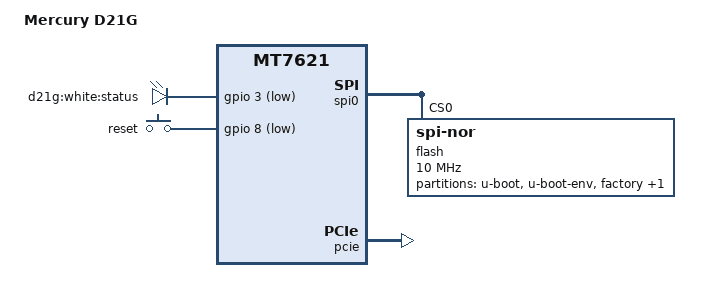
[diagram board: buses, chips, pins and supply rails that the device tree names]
#include "mt7621.dtsi"

#include <dt-bindings/gpio/gpio.h>
#include <dt-bindings/input/input.h>

/ {
     compatible = "mercury,d21g", "mediatek,mt7621-soc";
     model = "Mercury D21G";

     aliases {
         led-boot = &led_status;
         led-failsafe = &led_status;
         led-running = &led_status;
         led-upgrade = &led_status;
     };

     chosen {
         bootargs = "console=ttyS0,57600";
     };

     leds {
         compatible = "gpio-leds";

         led_status: status {
             label = "d21g:white:status";
             gpios = <&gpio 3 GPIO_ACTIVE_LOW>;
         };

     };

     keys {
         compatible = "gpio-keys";

         reset {
             label = "reset";
             gpios = <&gpio 8 GPIO_ACTIVE_LOW>;
             linux,code = <KEY_RESTART>;
         };
     };

};


&spi0 {
        status = "okay";

        flash@0 {
                compatible = "jedec,spi-nor";
                reg = <0>;
                spi-max-frequency = <10000000>;

                partitions {
                        compatible = "fixed-partitions";
                        #address-cells = <1>;
                        #size-cells = <1>;

                        partition@0 {
                                label = "u-boot";
                                reg = <0x0 0x20000>;
                                read-only;
                        };

                        partition@20000 {
                                label = "u-boot-env";
                                reg = <0x20000 0x10000>;
                                read-only;
                        };

                        factory: partition@30000 {
                                label = "factory";
                                reg = <0x30000 0x10000>;
								read-only;
                        };

                        partition@40000 {
                                compatible = "denx,uimage";
                                label = "firmware";
                                reg = <0x40000 0x7b0000>;
                        };
                };
        };
};

&gmac0 {
        mtd-mac-address = <&factory 0xe000>;
};

&switch0 {
        ports {
                port@0 {
                        status = "okay";
                        label = "wan";
						mtd-mac-address = <&factory 0xe000>;
                        mtd-mac-address-increment = <1>;
                };

                port@2 {
                        status = "okay";
                        label = "lan1";
                };

                port@3 {
                        status = "okay";
                        label = "lan2";
                };

                port@4 {
                        status = "okay";
                        label = "lan3";
                };
        };
};

&state_default {
     gpio {
         groups = "jtag", "uart2", "uart3", "wdt";
         function = "gpio";
     };
};

&pcie {
     status = "okay";
};


&pcie0 {
     mt76@0,0 {
         reg = <0x0000 0 0 0 0>;
         mediatek,mtd-eeprom = <&factory 0x0000>;
		 mtd-mac-address = <&factory 0xe000>;
         ieee80211-freq-limit = <2400000 2500000>;
     };
};


&pcie1 {
     mt76@0,0 {
         reg = <0x0000 0 0 0 0>;
         mediatek,mtd-eeprom = <&factory 0x8000>;
		 mtd-mac-address = <&factory 0xe000>;
         mtd-mac-address-increment = <2>;
         ieee80211-freq-limit = <5000000 6000000>;
     };
};
